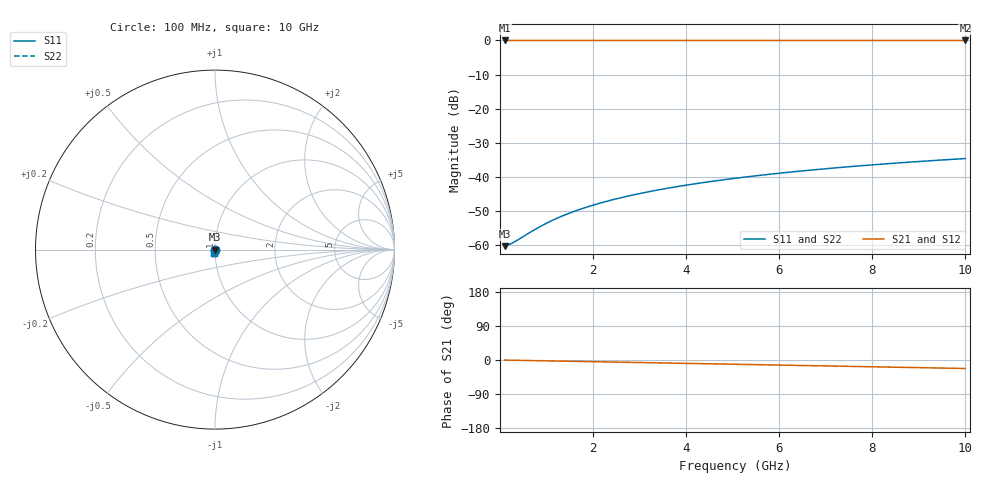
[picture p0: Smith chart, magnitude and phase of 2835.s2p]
# Hz S RI R 50.00
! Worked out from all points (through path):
!   100 points, 100 MHz to 10 GHz, reference 50 ohm
!   highest |S21| = -0.01 dB at 100 MHz (marker M1); lowest = 0.0 dB at 10 GHz (marker M2)
!   group delay of S21, straight-line fit = 6.23 ps
!   lowest |S11| = -60.2 dB at 100 MHz (marker M3), VSWR 1.00, Z = 50.1 - j0.0191 ohm
!   |S11| at or under -10 dB: start of sweep to end of sweep
!   |S22| runs from -60.2 to -34.6 dB; largest |S21 - S12| = 0
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1e8  0.000956 -0.000191  0.999 -0.00388  0.999 -0.00388  0.000956 -0.000191
2e8  0.000959 -0.000382  0.999 -0.00776  0.999 -0.00776  0.000959 -0.000382
3e8  0.000958 -0.000573  0.999 -0.0116  0.999 -0.0116  0.000958 -0.000573
8e8  0.000923 -0.00153  0.9985 -0.031  0.9985 -0.031  0.000923 -0.00153
9e8  0.000911 -0.00172  0.9984 -0.0349  0.9984 -0.0349  0.000911 -0.00172
1.1e9  0.000882 -0.0021  0.9981 -0.0427  0.9981 -0.0427  0.000882 -0.0021
1.4e9  0.000826 -0.00268  0.9975 -0.0543  0.9975 -0.0543  0.000826 -0.00268
1.6e9  0.000782 -0.00306  0.997 -0.0621  0.997 -0.0621  0.000782 -0.00306
1.8e9  0.000731 -0.00344  0.9965 -0.0698  0.9965 -0.0698  0.000731 -0.00344
2.1e9  0.000643 -0.00402  0.9956 -0.0814  0.9956 -0.0814  0.000643 -0.00402
2.5e9  0.000505 -0.00478  0.9942 -0.0969  0.9942 -0.0969  0.000505 -0.00478
2.9e9  0.000342 -0.00554  0.9926 -0.1124  0.9926 -0.1124  0.000342 -0.00554
3.4e9  0.000105 -0.00649  0.9902 -0.1317  0.9902 -0.1317  0.000105 -0.00649
3.8e9  -0.000111 -0.00724  0.988 -0.1471  0.988 -0.1471  -0.000111 -0.00724
4.2e9  -0.000351 -0.00799  0.9855 -0.1625  0.9855 -0.1625  -0.000351 -0.00799
4.6e9  -0.000615 -0.00873  0.9829 -0.1779  0.9829 -0.1779  -0.000615 -0.00873
5.1e9  -0.000977 -0.00964  0.9792 -0.1971  0.9792 -0.1971  -0.000977 -0.00964
5.9e9  -0.00163 -0.0111  0.9725 -0.2277  0.9725 -0.2277  -0.00163 -0.0111
6.7e9  -0.00237 -0.0125  0.9648 -0.2581  0.9648 -0.2581  -0.00237 -0.0125
7.5e9  -0.0032 -0.0138  0.9562 -0.2882  0.9562 -0.2882  -0.0032 -0.0138
8.4e9  -0.00423 -0.0153  0.9453 -0.3219  0.9453 -0.3219  -0.00423 -0.0153
1e10  -0.00628 -0.0176  0.923 -0.3809  0.923 -0.3809  -0.00628 -0.0176
